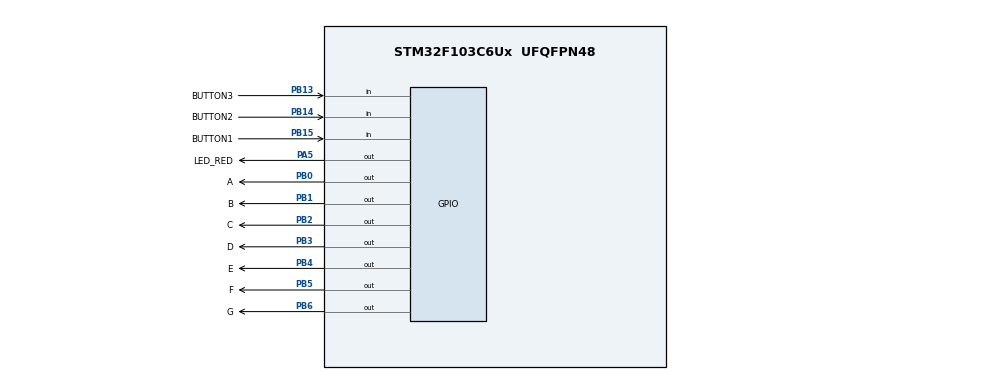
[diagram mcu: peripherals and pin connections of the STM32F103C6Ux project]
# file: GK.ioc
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Mcu.Family=STM32F1
Mcu.Name=STM32F103C6Ux
Mcu.Package=UFQFPN48
NVIC.PriorityGroup=NVIC_PRIORITYGROUP_4
NVIC.TIM2_IRQn=true\:0\:0\:false\:false\:true\:true\:true
PA5.GPIO_Label=LED_RED
PA5.Signal=GPIO_Output
PB0.GPIO_Label=A
PB0.Signal=GPIO_Output
PB1.GPIO_Label=B
PB1.Signal=GPIO_Output
PB13.GPIO_Label=BUTTON3
PB13.GPIO_PuPd=GPIO_PULLUP
PB13.Signal=GPIO_Input
PB14.GPIO_Label=BUTTON2
PB14.GPIO_PuPd=GPIO_PULLUP
PB14.Signal=GPIO_Input
PB15.GPIO_Label=BUTTON1
PB15.GPIO_PuPd=GPIO_PULLUP
PB15.Signal=GPIO_Input
PB2.GPIO_Label=C
PB2.Signal=GPIO_Output
PB3.GPIO_Label=D
PB3.Signal=GPIO_Output
PB4.GPIO_Label=E
PB4.Signal=GPIO_Output
PB5.GPIO_Label=F
PB5.Signal=GPIO_Output
PB6.GPIO_Label=G
PB6.Signal=GPIO_Output
ProjectManager.HeapSize=0x200
ProjectManager.StackSize=0x400
ProjectManager.TargetToolchain=STM32CubeIDE
RCC.APB1Freq_Value=8000000
RCC.APB2Freq_Value=8000000
TIM2.Period=10
TIM2.Prescaler=7999
VP_SYS_VS_ND.Mode=No_Debug
VP_TIM2_VS_ClockSourceINT.Mode=Internal
board=custom

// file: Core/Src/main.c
/* USER CODE BEGIN Header */
/**
  ******************************************************************************
  * @file           : main.c
  * @brief          : Main program body
  ******************************************************************************
  * @attention
  *
  * <h2><center>&copy; Copyright (c) 2022 STMicroelectronics.
  * All rights reserved.</center></h2>
  *
  * This software component is licensed by ST under BSD 3-Clause license,
  * the "License"; You may not use this file except in compliance with the
  * License. You may obtain a copy of the License at:
  *                        opensource.org/licenses/BSD-3-Clause
  *
  ******************************************************************************
  */
/* USER CODE END Header */
#include "main.h"

/* USER CODE BEGIN Includes */
#include "softwear_timer.h"
#include "display.h"
#include "button.h"
#include "global.h"
#include "fsm.h"
/* USER CODE END Includes */

TIM_HandleTypeDef htim2;

void SystemClock_Config(void);
static void MX_TIM2_Init(void);
static void MX_GPIO_Init(void);

int main(void)
{

  /* MCU Configuration--------------------------------------------------------*/

  /* Reset of all peripherals, Initializes the Flash interface and the Systick. */
  HAL_Init();

  /* Configure the system clock */
  SystemClock_Config();

  /* Initialize all configured peripherals */
  MX_TIM2_Init();
  MX_GPIO_Init();
  /* USER CODE BEGIN 2 */
  HAL_TIM_Base_Start_IT (& htim2 ) ;
  /* USER CODE END 2 */

  /* Infinite loop */
  /* USER CODE BEGIN WHILE */
  setTimer(3, 100);
  HAL_GPIO_WritePin(LED_RED_GPIO_Port, LED_RED_Pin, SET);
  while (1)
  {
	  fsm_run();
	  if(isTimer_timeout(3)){
		  HAL_GPIO_WritePin(LED_RED_GPIO_Port, LED_RED_Pin, RESET);
		  setTimer(2, 5);
		  setTimer(3, 100);
	  }
	  if(isTimer_timeout(2)){
		  HAL_GPIO_WritePin(LED_RED_GPIO_Port, LED_RED_Pin, SET);
	  }

    /* USER CODE END WHILE */

  }
}

void SystemClock_Config(void)
{
  RCC_OscInitTypeDef RCC_OscInitStruct = {0};
  RCC_ClkInitTypeDef RCC_ClkInitStruct = {0};

  /** Initializes the RCC Oscillators according to the specified parameters
  * in the RCC_OscInitTypeDef structure.
  */
  RCC_OscInitStruct.OscillatorType = RCC_OSCILLATORTYPE_HSI;
  RCC_OscInitStruct.HSIState = RCC_HSI_ON;
  RCC_OscInitStruct.HSICalibrationValue = RCC_HSICALIBRATION_DEFAULT;
  RCC_OscInitStruct.PLL.PLLState = RCC_PLL_NONE;
  if (HAL_RCC_OscConfig(&RCC_OscInitStruct) != HAL_OK)
  {
    Error_Handler();
  }
  /** Initializes the CPU, AHB and APB buses clocks
  */
  RCC_ClkInitStruct.ClockType = RCC_CLOCKTYPE_HCLK|RCC_CLOCKTYPE_SYSCLK
                              |RCC_CLOCKTYPE_PCLK1|RCC_CLOCKTYPE_PCLK2;
  RCC_ClkInitStruct.SYSCLKSource = RCC_SYSCLKSOURCE_HSI;
  RCC_ClkInitStruct.AHBCLKDivider = RCC_SYSCLK_DIV1;
  RCC_ClkInitStruct.APB1CLKDivider = RCC_HCLK_DIV1;
  RCC_ClkInitStruct.APB2CLKDivider = RCC_HCLK_DIV1;

  if (HAL_RCC_ClockConfig(&RCC_ClkInitStruct, FLASH_LATENCY_0) != HAL_OK)
  {
    Error_Handler();
  }
}

static void MX_TIM2_Init(void)
{

  TIM_ClockConfigTypeDef sClockSourceConfig = {0};
  TIM_MasterConfigTypeDef sMasterConfig = {0};

  htim2.Instance = TIM2;
  htim2.Init.Prescaler = 7999;
  htim2.Init.CounterMode = TIM_COUNTERMODE_UP;
  htim2.Init.Period = 10;
  htim2.Init.ClockDivision = TIM_CLOCKDIVISION_DIV1;
  htim2.Init.AutoReloadPreload = TIM_AUTORELOAD_PRELOAD_DISABLE;
  if (HAL_TIM_Base_Init(&htim2) != HAL_OK)
  {
    Error_Handler();
  }
  sClockSourceConfig.ClockSource = TIM_CLOCKSOURCE_INTERNAL;
  if (HAL_TIM_ConfigClockSource(&htim2, &sClockSourceConfig) != HAL_OK)
  {
    Error_Handler();
  }
  sMasterConfig.MasterOutputTrigger = TIM_TRGO_RESET;
  sMasterConfig.MasterSlaveMode = TIM_MASTERSLAVEMODE_DISABLE;
  if (HAL_TIMEx_MasterConfigSynchronization(&htim2, &sMasterConfig) != HAL_OK)
  {
    Error_Handler();
  }

}

static void MX_GPIO_Init(void)
{
  GPIO_InitTypeDef GPIO_InitStruct = {0};

  /* GPIO Ports Clock Enable */
  __HAL_RCC_GPIOA_CLK_ENABLE();
  __HAL_RCC_GPIOB_CLK_ENABLE();

  /*Configure GPIO pin Output Level */
  HAL_GPIO_WritePin(LED_RED_GPIO_Port, LED_RED_Pin, GPIO_PIN_RESET);

  /*Configure GPIO pin Output Level */
  HAL_GPIO_WritePin(GPIOB, A_Pin|B_Pin|C_Pin|D_Pin
                          |E_Pin|F_Pin|G_Pin, GPIO_PIN_RESET);

  /*Configure GPIO pin : LED_RED_Pin */
  GPIO_InitStruct.Pin = LED_RED_Pin;
  GPIO_InitStruct.Mode = GPIO_MODE_OUTPUT_PP;
  GPIO_InitStruct.Pull = GPIO_NOPULL;
  GPIO_InitStruct.Speed = GPIO_SPEED_FREQ_LOW;
  HAL_GPIO_Init(LED_RED_GPIO_Port, &GPIO_InitStruct);

  /*Configure GPIO pins : A_Pin B_Pin C_Pin D_Pin
                           E_Pin F_Pin G_Pin */
  GPIO_InitStruct.Pin = A_Pin|B_Pin|C_Pin|D_Pin
                          |E_Pin|F_Pin|G_Pin;
  GPIO_InitStruct.Mode = GPIO_MODE_OUTPUT_PP;
  GPIO_InitStruct.Pull = GPIO_NOPULL;
  GPIO_InitStruct.Speed = GPIO_SPEED_FREQ_LOW;
  HAL_GPIO_Init(GPIOB, &GPIO_InitStruct);

  /*Configure GPIO pins : BUTTON3_Pin BUTTON2_Pin BUTTON1_Pin */
  GPIO_InitStruct.Pin = BUTTON3_Pin|BUTTON2_Pin|BUTTON1_Pin;
  GPIO_InitStruct.Mode = GPIO_MODE_INPUT;
  GPIO_InitStruct.Pull = GPIO_PULLUP;
  HAL_GPIO_Init(GPIOB, &GPIO_InitStruct);

}

/* USER CODE BEGIN 4 */
void HAL_TIM_PeriodElapsedCallback ( TIM_HandleTypeDef * htim )
{
	timerRun();
	getKeyInput();
}
/* USER CODE END 4 */

void Error_Handler(void)
{
  __disable_irq();
  while (1)
  {
  }
}

/************************ (C) COPYRIGHT STMicroelectronics *****END OF FILE****/
